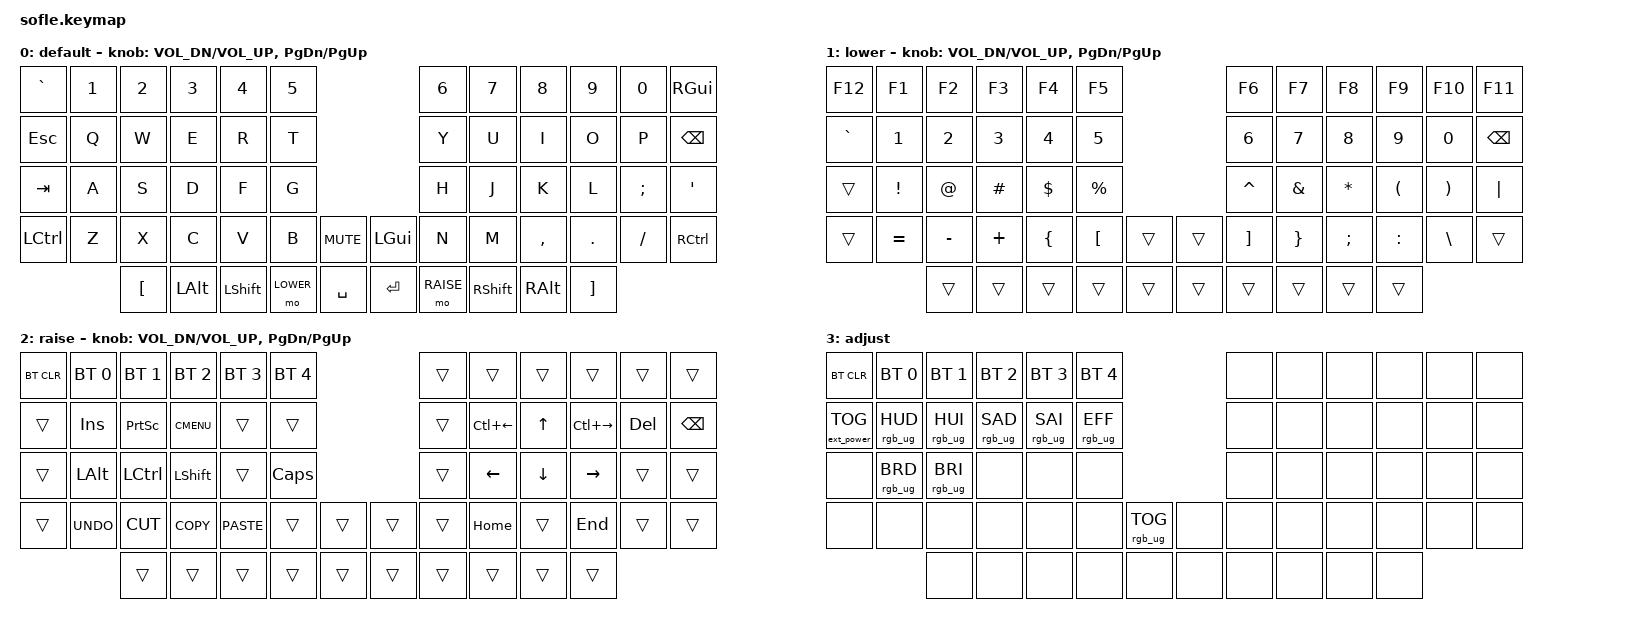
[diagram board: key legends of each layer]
/*
 * Copyright (c) 2020 The ZMK Contributors
 *
 * SPDX-License-Identifier: MIT
 */

#include <behaviors.dtsi>
#include <dt-bindings/zmk/keys.h>
#include <dt-bindings/zmk/bt.h>
#include <dt-bindings/zmk/rgb.h>
#include <dt-bindings/zmk/ext_power.h>

#define BASE 0
#define LOWER 1
#define RAISE 2
#define ADJUST 3

/ {

   // Activate ADJUST layer by pressing raise and lower
    conditional_layers {
        compatible = "zmk,conditional-layers";
        adjust_layer {
            if-layers = <LOWER RAISE>;
            then-layer = <ADJUST>;
        };
    };

    keymap {
        compatible = "zmk,keymap";

        default_layer {
            display-name = "default";
// ------------------------------------------------------------------------------------------------------------
// |   `   |  1  |  2  |  3   |  4   |  5   |                   |  6   |  7    |  8    |  9   |   0   |  GUI  |
// |  ESC  |  Q  |  W  |  E   |  R   |  T   |                   |  Y   |  U    |  I    |  O   |   P   | BKSPC |
// |  TAB  |  A  |  S  |  D   |  F   |  G   |                   |  H   |  J    |  K    |  L   |   ;   |   '   |
// |  CTRL |  Z  |  X  |  C   |  V   |  B   |  MUTE  |  |  GUI  |  N   |  M    |  ,    |  .   |   /   | CTRL  |
//               |LBKT | ALT  | SHIFT| LOWER|  SPACE |  | ENTER | RAISE| SHIFT | ALT   | RBKT |
            bindings = <
&kp GRAVE &kp N1 &kp N2   &kp N3   &kp N4    &kp N5                           &kp N6 &kp N7    &kp N8    &kp N9   &kp N0   &kp RGUI
&kp ESC   &kp Q  &kp W    &kp E    &kp R     &kp T                            &kp Y  &kp U     &kp I     &kp O    &kp P    &kp BSPC
&kp TAB   &kp A  &kp S    &kp D    &kp F     &kp G                            &kp H  &kp J     &kp K     &kp L    &kp SEMI &kp SQT
&kp LCTRL &kp Z  &kp X    &kp C    &kp V     &kp B      &kp C_MUTE &kp LGUI   &kp N  &kp M     &kp COMMA &kp DOT  &kp FSLH &kp RCTRL
                 &kp LBKT &kp LALT &kp LSHFT &mo LOWER  &kp SPACE  &kp RET    &mo RAISE  &kp RSHFT &kp RALT  &kp RBKT
            >;

            sensor-bindings = <&inc_dec_kp C_VOL_DN C_VOL_UP &inc_dec_kp PG_DN PG_UP>;
        };

        lower_layer {
            display-name = "lower";
// TODO: Some binds are waiting for shifted keycode support.
// ------------------------------------------------------------------------------------------------------------
// |  F12  |  F1 |  F2 |  F3  |  F4  |  F5  |                   |  F6  |  F7   |  F8   |  F9  |  F10  |  F11  |
// |   `   |  1  |  2  |  3   |  4   |  5   |                   |  6   |  7    |  8    |  9   |   0   | BKSPC |
// |       |  !  |  @  |  #   |  $   |  %   |                   |  ^   |  &    |  *    |  (   |   )   |   |   |
// |       |  =  |  -  |  +   |  {   |  [   |        |  |       |  ]   |  }    |  ;    |  :   |   \   |       |
//               |     |      |      |      |        |  |       |      |       |       |      |
            bindings = <
&kp F12      &kp F1    &kp F2    &kp F3      &kp F4    &kp F5                    &kp F6    &kp F7   &kp F8    &kp F9    &kp F10   &kp F11
&kp GRAVE &kp N1    &kp N2    &kp N3      &kp N4    &kp N5                    &kp N6    &kp N7   &kp N8    &kp N9    &kp N0    &kp BSPC
&trans    &kp EXCL  &kp AT    &kp HASH    &kp DLLR  &kp PRCNT                 &kp CARET &kp AMPS &kp ASTRK &kp LPAR  &kp RPAR  &kp PIPE
&trans    &kp EQUAL &kp MINUS &kp PLUS    &kp LBRC  &kp LBKT   &trans &trans  &kp RBKT  &kp RBRC &kp SEMI  &kp COLON &kp BSLH  &trans
                    &trans    &trans      &trans    &trans     &trans &trans  &trans    &trans   &trans    &trans
            >;

            sensor-bindings = <&inc_dec_kp C_VOL_DN C_VOL_UP &inc_dec_kp PG_DN PG_UP>;
        };

        raise_layer {
            display-name = "raise";
// ------------------------------------------------------------------------------------------------------------
// | BTCLR | BT1  | BT2  |  BT3  |  BT4  |  BT5 |                |      |         |       |          |       |       |
// |       | INS  | PSCR | GUI   |       |      |                |      |CTRL+LEFT|   ^   |CTRL+RIGHT|  DEL  | BKSPC |
// |       | ALT  | CTRL | SHIFT |       | CAPS |                |      |   <-    |   v   |    ->    |       |       |
// |       | UNDO | CUT  | COPY  | PASTE |      |      |  |      |      |   HOME  |       |   END    |       |       |
//                |      |       |       |      |      |  |      |      |         |       |          |
            bindings = <
&bt BT_CLR &bt BT_SEL 0 &bt BT_SEL 1 &bt BT_SEL 2 &bt BT_SEL 3 &bt BT_SEL 4                  &trans    &trans              &trans                 &trans                 &trans   &trans
&trans     &kp INS      &kp PSCRN    &kp K_CMENU  &trans       &trans                        &trans    &kp LC(LEFT_ARROW)  &kp UP                 &kp LC(RIGHT_ARROW)    &kp DEL  &kp BSPC
&trans     &kp LALT     &kp LCTRL    &kp LSHFT    &trans       &kp CLCK                      &trans    &kp LEFT            &kp DOWN               &kp RIGHT              &trans   &trans
&trans     &kp K_UNDO   &kp K_CUT    &kp K_COPY   &kp K_PASTE  &trans        &trans  &trans  &trans    &kp HOME            &trans                 &kp END                &trans   &trans
                        &trans       &trans       &trans       &trans        &trans  &trans  &trans    &trans              &trans   &trans
            >;

            sensor-bindings = <&inc_dec_kp C_VOL_DN C_VOL_UP &inc_dec_kp PG_DN PG_UP>;
        };

        adjust_layer {
// ----------------------------------------------------------------------------------------------------------------------------
// | BTCLR  |  BT1    |  BT2    |   BT3   |   BT4   |   BT5   |                  |      |      |       |      |       |       |
// | EXTPWR | RGB_HUD | RGB_HUI | RGB_SAD | RGB_SAI | RGB_EFF |                  |      |      |       |      |       |       |
// |        | RGB_BRD | RGB_BRI |         |         |         |                  |      |      |       |      |       |       |
// |        |         |         |         |         |         | RGB_TOG | |      |      |      |       |      |       |       |
//                    |         |         |         |         |         | |      |      |      |       |      |
            display-name = "adjust";
            bindings = <
&bt BT_CLR        &bt BT_SEL 0    &bt BT_SEL 1    &bt BT_SEL 2    &bt BT_SEL 3    &bt BT_SEL 4                            &none &none &none &none &none &none
&ext_power EP_TOG &rgb_ug RGB_HUD &rgb_ug RGB_HUI &rgb_ug RGB_SAD &rgb_ug RGB_SAI &rgb_ug RGB_EFF                         &none &none &none &none &none &none
&none             &rgb_ug RGB_BRD &rgb_ug RGB_BRI &none           &none           &none                                   &none &none &none &none &none &none
&none             &none           &none           &none           &none           &none            &rgb_ug RGB_TOG &none  &none &none &none &none &none &none
                                  &none           &none           &none           &none            &none           &none  &none &none &none &none
            >;
        };

    };
};
